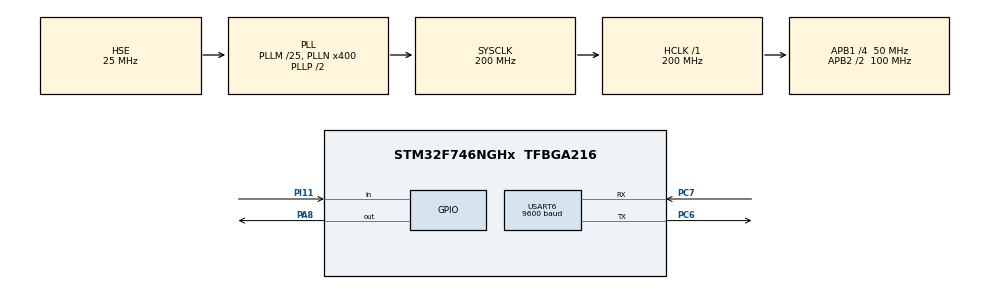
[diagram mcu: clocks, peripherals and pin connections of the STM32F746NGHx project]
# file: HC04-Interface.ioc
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Mcu.Family=STM32F7
Mcu.Name=STM32F746NGHx
Mcu.Package=TFBGA216
NVIC.PriorityGroup=NVIC_PRIORITYGROUP_4
NVIC.USART6_IRQn=true\:0\:0\:false\:false\:true\:true\:true\:true
PA8.Signal=GPIO_Output
PC6.Mode=Asynchronous
PC6.Signal=USART6_TX
PC7.Mode=Asynchronous
PC7.Signal=USART6_RX
PH0/OSC_IN.Mode=HSE-External-Oscillator
PH0/OSC_IN.Signal=RCC_OSC_IN
PH1/OSC_OUT.Mode=HSE-External-Oscillator
PH1/OSC_OUT.Signal=RCC_OSC_OUT
PI11.Signal=GPIO_Input
ProjectManager.HeapSize=0x200
ProjectManager.StackSize=0x400
ProjectManager.TargetToolchain=STM32CubeIDE
RCC.AHBFreq_Value=200000000
RCC.APB1CLKDivider=RCC_HCLK_DIV4
RCC.APB1Freq_Value=50000000
RCC.APB1TimFreq_Value=100000000
RCC.APB2CLKDivider=RCC_HCLK_DIV2
RCC.APB2Freq_Value=100000000
RCC.APB2TimFreq_Value=200000000
RCC.CortexFreq_Value=200000000
RCC.HCLKFreq_Value=200000000
RCC.HSE_VALUE=25000000
RCC.HSI_VALUE=16000000
RCC.PLL48CLockSelection=RCC_CLK48SOURCE_PLLSAIP
RCC.PLLI2SN=100
RCC.PLLM=25
RCC.PLLN=400
RCC.PLLQ=9
RCC.PLLSAIN=384
RCC.PLLSAIP=RCC_PLLSAIP_DIV8
RCC.PLLSAIR=5
RCC.PLLSAIRDiv=RCC_PLLSAIDIVR_8
RCC.PLLSourceVirtual=RCC_PLLSOURCE_HSE
RCC.SDMMCClockSelection=RCC_SDMMC1CLKSOURCE_CLK48
RCC.SYSCLKFreq_VALUE=200000000
RCC.SYSCLKSource=RCC_SYSCLKSOURCE_PLLCLK
RCC.USBFreq_Value=48000000
RCC.VCOOutputFreq_Value=400000000
USART6.BaudRate=9600
USART6.Mode=MODE_TX_RX
USART6.VirtualMode-Asynchronous=VM_ASYNC
board=STM32F746G-DISCO

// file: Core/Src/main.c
/* USER CODE BEGIN Header */
/**
  ******************************************************************************
  * @file           : main.c
  * @brief          : Main program body
  ******************************************************************************
  * @attention
  *
  * Copyright (c) 2022 STMicroelectronics.
  * All rights reserved.
  *
  * This software is licensed under terms that can be found in the LICENSE file
  * in the root directory of this software component.
  * If no LICENSE file comes with this software, it is provided AS-IS.
  *
  ******************************************************************************
  */
/* USER CODE END Header */
#include "main.h"

UART_HandleTypeDef huart6;

void SystemClock_Config(void);
static void MX_GPIO_Init(void);
static void MX_USART6_UART_Init(void);

/* USER CODE BEGIN 0 */
#define BUFFER_LEN  1
uint8_t RX_BUFFER[BUFFER_LEN] = {0};

/* USER CODE END 0 */

int main(void)
{

  /* MCU Configuration--------------------------------------------------------*/

  /* Reset of all peripherals, Initializes the Flash interface and the Systick. */
  HAL_Init();

  /* Configure the system clock */
  SystemClock_Config();

  /* Initialize all configured peripherals */
  MX_GPIO_Init();
  MX_USART6_UART_Init();
  /* USER CODE BEGIN 2 */
  HAL_UART_Receive_IT(&huart6, RX_BUFFER, BUFFER_LEN);
  uint8_t data0[] = "UART PROTOCOL \r\n";
  HAL_UART_Transmit (&huart6, data0, sizeof (data0), 100);

  /* USER CODE END 2 */

  /* Infinite loop */
  while (1)
  {

    /* USER CODE BEGIN 3 */

	  uint8_t data1[] = "LED ON \r\n";
	  uint8_t data2[] = "LED OFF \r\n";

	  HAL_GPIO_WritePin(GPIOA, GPIO_PIN_8,GPIO_PIN_RESET);

	  if(HAL_GPIO_ReadPin(GPIOI, GPIO_PIN_11) == 1){
	        HAL_GPIO_WritePin(GPIOA, GPIO_PIN_8, GPIO_PIN_SET);
	        HAL_UART_Transmit (&huart6, data1, sizeof (data1), 100);

	    }else{
	        HAL_GPIO_WritePin(GPIOA, GPIO_PIN_8, GPIO_PIN_RESET);
	  	  HAL_UART_Transmit (&huart6, data2, sizeof (data2), 100);

	     }
	  HAL_Delay(1000);
  }
  /* USER CODE END 3 */
}

void SystemClock_Config(void)
{
  RCC_OscInitTypeDef RCC_OscInitStruct = {0};
  RCC_ClkInitTypeDef RCC_ClkInitStruct = {0};

  /** Configure the main internal regulator output voltage
  */
  __HAL_RCC_PWR_CLK_ENABLE();
  __HAL_PWR_VOLTAGESCALING_CONFIG(PWR_REGULATOR_VOLTAGE_SCALE1);

  /** Initializes the RCC Oscillators according to the specified parameters
  * in the RCC_OscInitTypeDef structure.
  */
  RCC_OscInitStruct.OscillatorType = RCC_OSCILLATORTYPE_HSE;
  RCC_OscInitStruct.HSEState = RCC_HSE_ON;
  RCC_OscInitStruct.PLL.PLLState = RCC_PLL_ON;
  RCC_OscInitStruct.PLL.PLLSource = RCC_PLLSOURCE_HSE;
  RCC_OscInitStruct.PLL.PLLM = 25;
  RCC_OscInitStruct.PLL.PLLN = 400;
  RCC_OscInitStruct.PLL.PLLP = RCC_PLLP_DIV2;
  RCC_OscInitStruct.PLL.PLLQ = 9;
  if (HAL_RCC_OscConfig(&RCC_OscInitStruct) != HAL_OK)
  {
    Error_Handler();
  }

  /** Activate the Over-Drive mode
  */
  if (HAL_PWREx_EnableOverDrive() != HAL_OK)
  {
    Error_Handler();
  }

  /** Initializes the CPU, AHB and APB buses clocks
  */
  RCC_ClkInitStruct.ClockType = RCC_CLOCKTYPE_HCLK|RCC_CLOCKTYPE_SYSCLK
                              |RCC_CLOCKTYPE_PCLK1|RCC_CLOCKTYPE_PCLK2;
  RCC_ClkInitStruct.SYSCLKSource = RCC_SYSCLKSOURCE_PLLCLK;
  RCC_ClkInitStruct.AHBCLKDivider = RCC_SYSCLK_DIV1;
  RCC_ClkInitStruct.APB1CLKDivider = RCC_HCLK_DIV4;
  RCC_ClkInitStruct.APB2CLKDivider = RCC_HCLK_DIV2;

  if (HAL_RCC_ClockConfig(&RCC_ClkInitStruct, FLASH_LATENCY_6) != HAL_OK)
  {
    Error_Handler();
  }
}

static void MX_USART6_UART_Init(void)
{

  huart6.Instance = USART6;
  huart6.Init.BaudRate = 9600;
  huart6.Init.WordLength = UART_WORDLENGTH_8B;
  huart6.Init.StopBits = UART_STOPBITS_1;
  huart6.Init.Parity = UART_PARITY_NONE;
  huart6.Init.Mode = UART_MODE_TX_RX;
  huart6.Init.HwFlowCtl = UART_HWCONTROL_NONE;
  huart6.Init.OverSampling = UART_OVERSAMPLING_16;
  huart6.Init.OneBitSampling = UART_ONE_BIT_SAMPLE_DISABLE;
  huart6.AdvancedInit.AdvFeatureInit = UART_ADVFEATURE_NO_INIT;
  if (HAL_UART_Init(&huart6) != HAL_OK)
  {
    Error_Handler();
  }

}

static void MX_GPIO_Init(void)
{
  GPIO_InitTypeDef GPIO_InitStruct = {0};

  /* GPIO Ports Clock Enable */
  __HAL_RCC_GPIOI_CLK_ENABLE();
  __HAL_RCC_GPIOA_CLK_ENABLE();
  __HAL_RCC_GPIOH_CLK_ENABLE();
  __HAL_RCC_GPIOC_CLK_ENABLE();

  /*Configure GPIO pin Output Level */
  HAL_GPIO_WritePin(GPIOA, GPIO_PIN_8, GPIO_PIN_RESET);

  /*Configure GPIO pin : PI11 */
  GPIO_InitStruct.Pin = GPIO_PIN_11;
  GPIO_InitStruct.Mode = GPIO_MODE_INPUT;
  GPIO_InitStruct.Pull = GPIO_NOPULL;
  HAL_GPIO_Init(GPIOI, &GPIO_InitStruct);

  /*Configure GPIO pin : PA8 */
  GPIO_InitStruct.Pin = GPIO_PIN_8;
  GPIO_InitStruct.Mode = GPIO_MODE_OUTPUT_PP;
  GPIO_InitStruct.Pull = GPIO_NOPULL;
  GPIO_InitStruct.Speed = GPIO_SPEED_FREQ_LOW;
  HAL_GPIO_Init(GPIOA, &GPIO_InitStruct);

}

/* USER CODE BEGIN 4 */
void HAL_UART_RxCpltCallback(UART_HandleTypeDef *huart)
{
    if(huart->Instance == huart6.Instance)
    {
    HAL_UART_Receive_IT(&huart6, RX_BUFFER, BUFFER_LEN);
    }
}

/* USER CODE END 4 */

void Error_Handler(void)
{
  __disable_irq();
  while (1)
  {
  }
}
